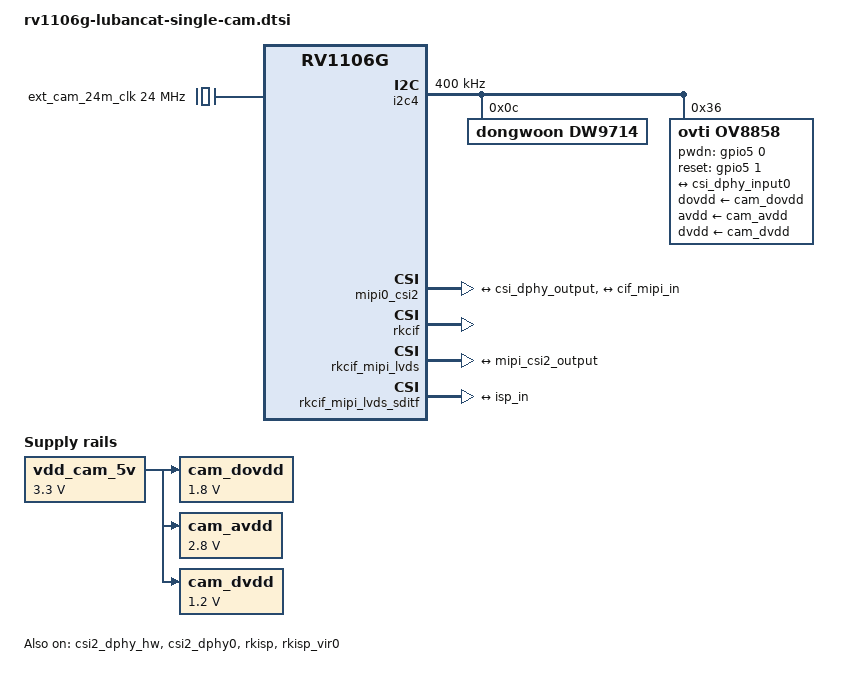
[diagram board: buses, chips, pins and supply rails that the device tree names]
// SPDX-License-Identifier: (GPL-2.0+ OR MIT)



/{
	ext_cam_24m_clk: external-camera-24m-clock {
		compatible = "fixed-clock";
		#clock-cells = <0>;
		clock-frequency = <24000000>;
		clock-output-names = "ext_cam_24m_clk";
	}; 

	vdd_cam_5v: vdd-cam-5v-regulator {
		compatible = "regulator-fixed";
		regulator-name = "vdd_cam_5v";
		regulator-always-on;
		regulator-boot-on;
		regulator-min-microvolt = <3300000>;
		regulator-max-microvolt = <3300000>;
	};

	cam_dovdd: cam-dovdd {
		compatible = "regulator-fixed";
		regulator-name = "cam_dovdd";
		regulator-always-on;
		regulator-boot-on;
		regulator-min-microvolt = <1800000>;
		regulator-max-microvolt = <1800000>;
		vin-supply = <&vdd_cam_5v>;
	};

	cam_avdd: cam-avdd {
		compatible = "regulator-fixed";
		regulator-name = "cam_avdd";
		regulator-always-on;
		regulator-boot-on;
		regulator-min-microvolt = <2800000>;
		regulator-max-microvolt = <2800000>;
		vin-supply = <&vdd_cam_5v>;
	};

	cam_dvdd: cam-dvdd {
		compatible = "regulator-fixed";
		regulator-name = "cam_dvdd";
		regulator-always-on;
		regulator-boot-on;
		regulator-min-microvolt = <1200000>;
		regulator-max-microvolt = <1200000>;
		vin-supply = <&vdd_cam_5v>;
	};
};

&csi2_dphy_hw {
	status = "okay";
};

&csi2_dphy0 {
	status = "okay";

	ports {
		#address-cells = <1>;
		#size-cells = <0>;

		port@0 {
			reg = <0>;
			#address-cells = <1>;
			#size-cells = <0>;

			csi_dphy_input0: endpoint@0 {
				reg = <0>;
				remote-endpoint = <&ov8858_out>;
				data-lanes = <1 2>;
			};
		};

		port@1 {
			reg = <1>;
			#address-cells = <1>;
			#size-cells = <0>;

			csi_dphy_output: endpoint@0 {
				reg = <0>;
				remote-endpoint = <&mipi_csi2_input>;
			};
		};
	};
};

&i2c4 {
	status = "okay";
	clock-frequency = <400000>;
	pinctrl-names = "default";
	pinctrl-0 = <&i2c4m2_xfer>;

	dw9714: dw9714@c {
		status = "okay";
		compatible = "dongwoon,dw9714";
		reg = <0xc>;
		rockchip,camera-module-index = <0>;
		rockchip,vcm-max-current = <100>;
		rockchip,vcm-start-current = <0>;
		rockchip,vcm-rated-current = <100>;
		rockchip,vcm-step-mode = <0xd>;
		rockchip,vcm-dlc-enable = <0>;
		rockchip,vcm-mclk = <0>;	
		rockchip,vcm-t-src = <0>;
		rockchip,camera-module-facing = "back";
	};

	ov8858: ov8858@36 {
		compatible = "ovti,ov8858";
		status = "okay";
		reg = <0x36>;
		clocks = <&ext_cam_24m_clk>;
		clock-names = "xvclk";
		pwdn-gpios = <&gpio5 0 GPIO_ACTIVE_HIGH>;
		reset-gpios = <&gpio5 1 GPIO_ACTIVE_HIGH>;

		dovdd-supply= <&cam_dovdd>; /* 1.8v */
		avdd-supply = <&cam_avdd>;  /* 2.8v */
		dvdd-supply = <&cam_dvdd>;  /* 1.2v */

		rockchip,camera-module-index = <0>;
		rockchip,camera-module-facing = "back";
		rockchip,camera-module-name = "HS5885-BNSM1018-V01";
		rockchip,camera-module-lens-name = "default";
		lens-focus = <&dw9714>;

		port {
			/* MIPI CSI-2 bus endpoint */
			ov8858_out: endpoint {
				remote-endpoint = <&csi_dphy_input0>;
				data-lanes = <1 2>;
			};
		};
	};
};

&mipi0_csi2 {
	status = "okay";

	ports {
		#address-cells = <1>;
		#size-cells = <0>;

		port@0 {
			reg = <0>;
			#address-cells = <1>;
			#size-cells = <0>;

			mipi_csi2_input: endpoint@1 {
				reg = <1>;
				remote-endpoint = <&csi_dphy_output>;
			};
		};

		port@1 {
			reg = <1>;
			#address-cells = <1>;
			#size-cells = <0>;

			mipi_csi2_output: endpoint@0 {
				reg = <0>;
				remote-endpoint = <&cif_mipi_in>;
			};
		};
	};
};

&rkcif {
	status = "okay";
};

&rkcif_mipi_lvds {
	status = "okay";

	pinctrl-names = "default";
	pinctrl-0 = <&mipi_pins>;
	port {
		/* MIPI CSI-2 endpoint */
		cif_mipi_in: endpoint {
			remote-endpoint = <&mipi_csi2_output>;
		};
	};
};

&rkcif_mipi_lvds_sditf {
	status = "okay";

	port {
		/* MIPI CSI-2 endpoint */
		mipi_lvds_sditf: endpoint {
			remote-endpoint = <&isp_in>;
		};
	};
};

&rkisp {
	status = "okay";
};

&rkisp_vir0 {
	status = "okay";

	port@0 {
		isp_in: endpoint {
			remote-endpoint = <&mipi_lvds_sditf>;
		};
	};
};

